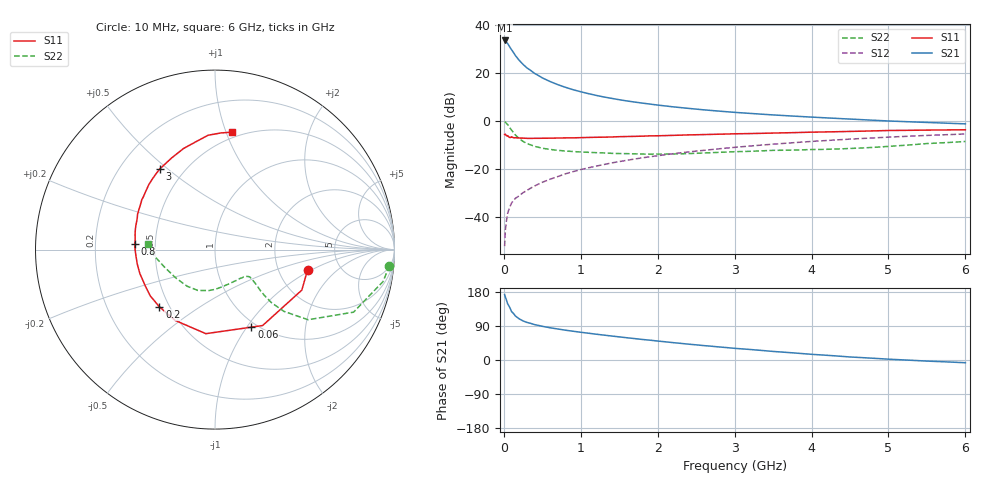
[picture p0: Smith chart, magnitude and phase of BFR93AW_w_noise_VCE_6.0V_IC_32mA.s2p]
! Infineon Technologies  Discrete & RF Semiconductors
! BFR93AW
! VCE =  6.0 V,  IC =  32 mA
! Common Emitter S-Parameters:  Jan 2017
# GHz  S  MA  R  50
!  f  S11  S21  S12  S22
! GHz  MAG  ANG  MAG  ANG  MAG  ANG  MAG  ANG
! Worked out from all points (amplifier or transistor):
!   77 points, 10 MHz to 6 GHz, reference 50 ohm
!   highest |S21| = 33.6 dB at 10 MHz (marker M1)
!   |S21| within 3 dB of that: start of sweep to 82.79 MHz
!   unconditionally stable (mu >= 1): 586.8 MHz to 2.028 GHz
!   at 130 MHz: K = 0.53, MSG = 30.6 dB, |S12| = -32.9 dB
!   at 2.2 GHz: K = 0.99, MSG = 9.8 dB, |S12| = -13.6 dB
!   at 6 GHz: K = 0.87, MSG = 2.1 dB, |S12| = -5.4 dB
!   lowest NFmin = 1.86 dB at 450 MHz
!   S11 on the Smith chart (normalised r, x): 10 MHz: 2.91, -0.92; 60 MHz: 0.94, -1.05; 200 MHz: 0.44, -0.35; 800 MHz: 0.38, +0.03; 3 GHz: 0.37, +0.47; 6 GHz: 0.45, +1.05
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0.01  0.5279 -12.4  47.73 172.6  0.0025 85.8  0.9758 -5.3
0.02  0.5339 -25.0  47.07 166.0  0.0054 85.2  0.9529 -10.8
0.05  0.4994 -57.9  41.16 148.0  0.0121 69.5  0.8472 -24.3
0.06  0.4771 -64.9  38.74 144.9  0.0136 66.9  0.8049 -26.3
0.1  0.4713 -96.2  30.7 127.8  0.0197 60.6  0.6493 -37.0
0.15  0.4527 -119.5  23.23 116.1  0.0247 58.9  0.5151 -41.9
0.2  0.4444 -134.2  18.39 108.6  0.028 60.8  0.432 -43.2
0.25  0.4433 -144.5  15.17 103.1  0.0325 61.9  0.3786 -42.9
0.3  0.4383 -151.7  12.83 99.2  0.0361 62.3  0.3417 -42.1
0.4  0.4394 -162.1  9.838 93.3  0.0447 65.6  0.2983 -40.2
0.5  0.4405 -169.4  7.949 88.9  0.0534 67.3  0.2727 -39.1
0.6  0.4417 -175.2  6.683 85.1  0.0617 68.2  0.2578 -38.5
0.7  0.4452 -179.9  5.753 81.9  0.0701 69.9  0.2467 -38.2
0.8  0.4476 176.2  5.062 78.7  0.08 70.4  0.2391 -38.9
1.1  0.4576 165.9  3.732 70.7  0.1069 70.1  0.2243 -42.3
1.5  0.4748 155.3  2.79 61.0  0.1438 68.5  0.2114 -50.8
2.1  0.5004 141.5  2.07 48.0  0.2003 64.3  0.2063 -69.6
3  0.5448 124.2  1.523 30.8  0.2846 56.7  0.231 -98.8
3.1  0.5477 122.4  1.485 29.3  0.2938 55.6  0.233 -101.7
4.1  0.593 105.9  1.19 13.7  0.3867 45.5  0.2574 -130.9
5.1  0.6403 92.1  0.993 1.2  0.4722 34.6  0.3055 -164.0
6  0.6615 81.7  0.877 -7.2  0.5399 24.4  0.3767 175.4
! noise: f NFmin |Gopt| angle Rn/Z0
0.45  1.86  0.19  175  0.16
0.9  2.12  0.26  -174  0.16
1.9  3.16  0.51  -135  0.3
2.4  3.82  0.56  -124  0.57
